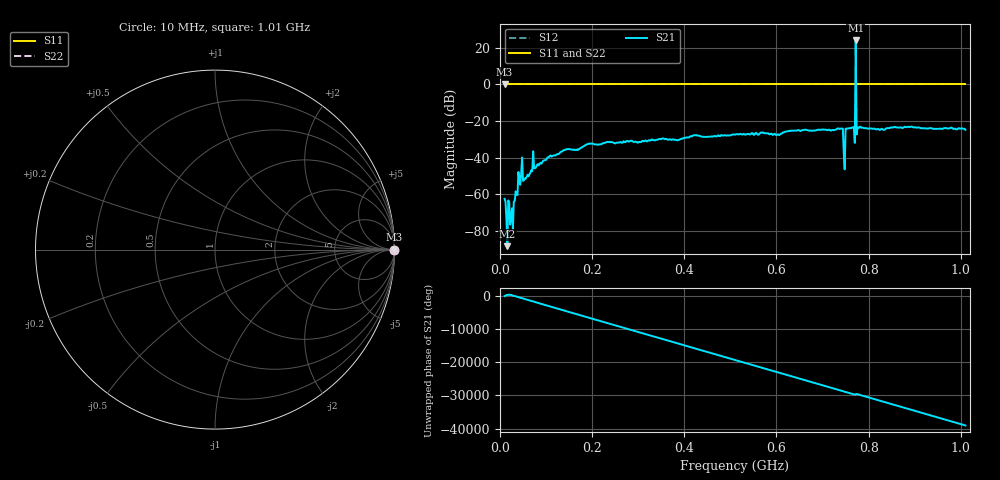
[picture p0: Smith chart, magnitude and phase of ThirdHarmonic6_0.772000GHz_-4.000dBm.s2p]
! 8/16/2025 1:46:41 AM
! C:\ANRITSUVNA\TEMP\TEMP.S2P
! CHANNEL.1
! TR.MEASUREMENT
! RAW.DATA
! RF.CORRECTION.OFF
! AVERAGING.OFF
! IF.BANDWIDTH: 5KHZ
! SWEEPTYPE:  FREQ.SWEEP(Linear)
! Reference Plane Port Info
! PORT:  PORT1  PORT2
! DISTANCE:  0  m  0  m
! TIME:  0  s  0  s
! PHASE.OFFSET:  0  deg.  0  deg.
! LOSS:  0  dB  0  dB
! REF.LOSS:  0  dB  0  dB
! REF.FREQ:  0  Hz  0  Hz
! Power Info
! POWER:  -20  dBm  -20  dBm
! EFF.POWER:  -20  dBm  -20  dBm
! SOURCE.ATTEN:  0  dB  0  dB
! TEST.ATTEN:  0  dB  0  dB
# GHZ S RI R 50.0
! FREQ.GHZ  S11RE  S11IM  S21RE  S21IM  S12RE  S12IM  S22RE  S22IM
!; PortSelection: Port_12
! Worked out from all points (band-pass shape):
!   501 points, 10 MHz to 1.01 GHz, reference 50 ohm
!   highest |S21| = 23.93 dB at 772 MHz (marker M1); lowest = -88.3 dB at 16 MHz (marker M2)
!   |S21| within 3 dB of the highest: 771.8927 MHz to 772.1169 MHz (224.2 kHz wide, 0.029 % of centre)
!   lowest |S11| = 0.0 dB at 10 MHz (marker M3)
!   |S11| at or under -10 dB: nowhere
!   |S22| runs from 0.0 to 0.0 dB; largest |S21 - S12| = 16
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0.01  1 0  0.000751 2.16e-05  1 0  1 0
0.016  1 0  1.95e-05 -3.29e-05  1 0  1 0
0.026  1 0  3.45e-05 -0.000413  1 0  1 0
0.044  1 0  -0.00116 -0.0014  1 0  1 0
0.054  1 0  -0.00267 -0.000531  1 0  1 0
0.076  1 0  0.00507 0.000498  1 0  1 0
0.178  1 0  -0.0189 -0.00355  1 0  1 0
0.344  1 0  0.0309 -0.00604  1 0  1 0
0.51  1 0  -0.0401 0.0129  1 0  1 0
0.678  1 0  -0.0207 -0.0495  1 0  1 0
0.74  1 0  0.00215 -0.0623  1 0  1 0
0.744  1 0  -0.0197 0.0582  1 0  1 0
0.748  1 0  0.000965 -0.00468  1 0  1 0
0.75  1 0  -0.0406 -0.0465  1 0  1 0
0.754  1 0  0.0235 0.058  1 0  1 0
0.766  1 0  0.0366 -0.0544  1 0  1 0
0.768  1 0  -0.0502 -0.0468  1 0  1 0
0.772  1 0  -7.216 -13.97  1 0  1 0
0.776  1 0  -0.0152 -0.0642  1 0  1 0
0.778  1 0  -0.0662 0.00492  1 0  1 0
0.844  1 0  0.0447 0.0452  1 0  1 0
1.01  1 0  -0.0551 -0.0158  1 0  1 0
